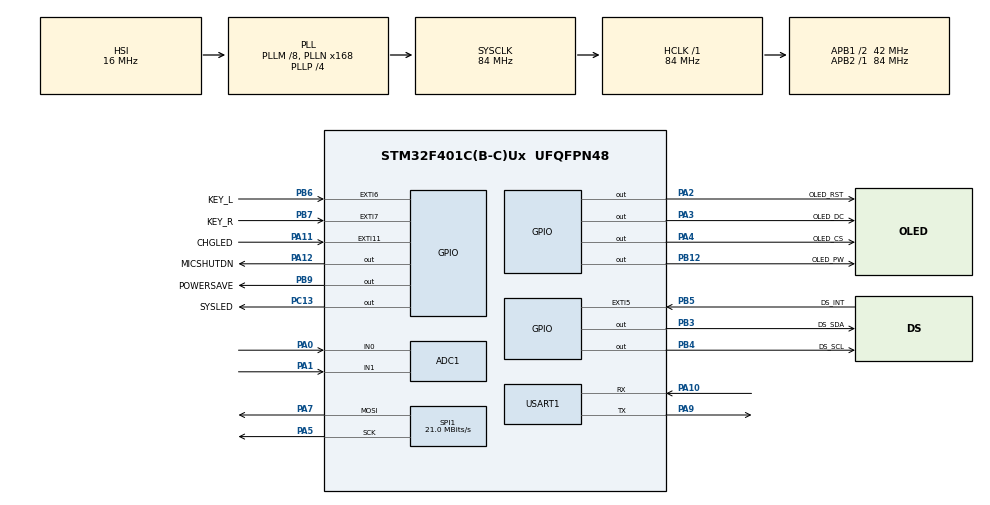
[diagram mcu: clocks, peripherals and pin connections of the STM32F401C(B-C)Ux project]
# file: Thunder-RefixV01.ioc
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ADC1.Channel-0\#ChannelRegularConversion=ADC_CHANNEL_0
ADC1.ExternalTrigConv=ADC_EXTERNALTRIGCONV_T3_TRGO
ADC1.NbrOfConversionFlag=1
ADC1.Rank-0\#ChannelRegularConversion=1
ADC1.SamplingTime-0\#ChannelRegularConversion=ADC_SAMPLETIME_3CYCLES
ADC1.master=1
Dma.ADC1.1.Direction=DMA_PERIPH_TO_MEMORY
Dma.ADC1.1.FIFOMode=DMA_FIFOMODE_DISABLE
Dma.ADC1.1.Instance=DMA2_Stream0
Dma.ADC1.1.MemDataAlignment=DMA_MDATAALIGN_WORD
Dma.ADC1.1.MemInc=DMA_MINC_ENABLE
Dma.ADC1.1.Mode=DMA_CIRCULAR
Dma.ADC1.1.PeriphDataAlignment=DMA_PDATAALIGN_WORD
Dma.ADC1.1.PeriphInc=DMA_PINC_DISABLE
Dma.ADC1.1.Priority=DMA_PRIORITY_LOW
Dma.Request0=SPI1_TX
Dma.Request1=ADC1
Dma.Request2=USART1_RX
Dma.Request3=USART1_TX
Dma.SPI1_TX.0.Direction=DMA_MEMORY_TO_PERIPH
Dma.SPI1_TX.0.FIFOMode=DMA_FIFOMODE_DISABLE
Dma.SPI1_TX.0.Instance=DMA2_Stream3
Dma.SPI1_TX.0.MemDataAlignment=DMA_MDATAALIGN_BYTE
Dma.SPI1_TX.0.MemInc=DMA_MINC_ENABLE
Dma.SPI1_TX.0.Mode=DMA_NORMAL
Dma.SPI1_TX.0.PeriphDataAlignment=DMA_PDATAALIGN_BYTE
Dma.SPI1_TX.0.PeriphInc=DMA_PINC_DISABLE
Dma.SPI1_TX.0.Priority=DMA_PRIORITY_LOW
Dma.USART1_RX.2.Direction=DMA_PERIPH_TO_MEMORY
Dma.USART1_RX.2.FIFOMode=DMA_FIFOMODE_DISABLE
Dma.USART1_RX.2.Instance=DMA2_Stream5
Dma.USART1_RX.2.MemDataAlignment=DMA_MDATAALIGN_BYTE
Dma.USART1_RX.2.MemInc=DMA_MINC_ENABLE
Dma.USART1_RX.2.Mode=DMA_NORMAL
Dma.USART1_RX.2.PeriphDataAlignment=DMA_PDATAALIGN_BYTE
Dma.USART1_RX.2.PeriphInc=DMA_PINC_DISABLE
Dma.USART1_RX.2.Priority=DMA_PRIORITY_HIGH
Dma.USART1_TX.3.Direction=DMA_MEMORY_TO_PERIPH
Dma.USART1_TX.3.FIFOMode=DMA_FIFOMODE_DISABLE
Dma.USART1_TX.3.Instance=DMA2_Stream7
Dma.USART1_TX.3.MemDataAlignment=DMA_MDATAALIGN_BYTE
Dma.USART1_TX.3.MemInc=DMA_MINC_ENABLE
Dma.USART1_TX.3.Mode=DMA_NORMAL
Dma.USART1_TX.3.PeriphDataAlignment=DMA_PDATAALIGN_BYTE
Dma.USART1_TX.3.PeriphInc=DMA_PINC_DISABLE
Dma.USART1_TX.3.Priority=DMA_PRIORITY_MEDIUM
Mcu.Family=STM32F4
Mcu.Name=STM32F401C(B-C)Ux
Mcu.Package=UFQFPN48
NVIC.DMA2_Stream0_IRQn=true\:0\:0\:false\:false\:true\:false\:true
NVIC.DMA2_Stream3_IRQn=true\:0\:0\:false\:false\:true\:false\:true
NVIC.DMA2_Stream5_IRQn=true\:0\:0\:false\:false\:true\:false\:true
NVIC.DMA2_Stream7_IRQn=true\:0\:0\:false\:false\:true\:false\:true
NVIC.EXTI15_10_IRQn=true\:0\:0\:false\:false\:true\:true\:true
NVIC.EXTI9_5_IRQn=true\:0\:0\:false\:false\:true\:true\:true
NVIC.FPU_IRQn=true\:0\:0\:false\:false\:true\:true\:false
NVIC.PriorityGroup=NVIC_PRIORITYGROUP_4
NVIC.TIM1_BRK_TIM9_IRQn=true\:0\:0\:false\:false\:true\:true\:true
NVIC.TIM4_IRQn=true\:0\:0\:false\:false\:true\:true\:true
NVIC.TIM5_IRQn=true\:0\:0\:false\:false\:true\:true\:true
NVIC.USART1_IRQn=true\:0\:0\:false\:false\:true\:true\:true
PA0-WKUP.Signal=ADCx_IN0
PA1.Signal=ADCx_IN1
PA10.Mode=Asynchronous
PA10.Signal=USART1_RX
PA11.GPIO_Label=CHGLED
PA11.GPIO_ModeDefaultEXTI=GPIO_MODE_IT_RISING_FALLING
PA11.GPIO_PuPd=GPIO_PULLUP
PA11.Signal=GPXTI11
PA12.GPIO_Label=MICSHUTDN
PA12.GPIO_ModeDefaultOutputPP=GPIO_MODE_OUTPUT_PP
PA12.GPIO_PuPd=GPIO_PULLUP
PA12.GPIO_Speed=GPIO_SPEED_FREQ_LOW
PA12.PinState=GPIO_PIN_SET
PA12.Signal=GPIO_Output
PA13.Mode=Serial_Wire
PA13.Signal=SYS_JTMS-SWDIO
PA14.Mode=Serial_Wire
PA14.Signal=SYS_JTCK-SWCLK
PA2.GPIO_Label=OLED_RST
PA2.GPIO_ModeDefaultOutputPP=GPIO_MODE_OUTPUT_PP
PA2.GPIO_PuPd=GPIO_PULLUP
PA2.GPIO_Speed=GPIO_SPEED_FREQ_VERY_HIGH
PA2.PinState=GPIO_PIN_SET
PA2.Signal=GPIO_Output
PA3.GPIO_Label=OLED_DC
PA3.GPIO_ModeDefaultOutputPP=GPIO_MODE_OUTPUT_PP
PA3.GPIO_PuPd=GPIO_PULLUP
PA3.GPIO_Speed=GPIO_SPEED_FREQ_VERY_HIGH
PA3.PinState=GPIO_PIN_SET
PA3.Signal=GPIO_Output
PA4.GPIO_Label=OLED_CS
PA4.GPIO_ModeDefaultOutputPP=GPIO_MODE_OUTPUT_PP
PA4.GPIO_PuPd=GPIO_PULLUP
PA4.GPIO_Speed=GPIO_SPEED_FREQ_VERY_HIGH
PA4.PinState=GPIO_PIN_SET
PA4.Signal=GPIO_Output
PA5.Mode=TX_Only_Simplex_Unidirect_Master
PA5.Signal=SPI1_SCK
PA7.Mode=TX_Only_Simplex_Unidirect_Master
PA7.Signal=SPI1_MOSI
PA9.Mode=Asynchronous
PA9.Signal=USART1_TX
PB12.GPIO_Label=OLED_PW
PB12.GPIO_ModeDefaultOutputPP=GPIO_MODE_OUTPUT_PP
PB12.GPIO_PuPd=GPIO_PULLUP
PB12.GPIO_Speed=GPIO_SPEED_FREQ_LOW
PB12.PinState=GPIO_PIN_SET
PB12.Signal=GPIO_Output
PB3.GPIO_Label=DS_SDA
PB3.GPIO_ModeDefaultOutputPP=GPIO_MODE_OUTPUT_PP
PB3.GPIO_PuPd=GPIO_NOPULL
PB3.GPIO_Speed=GPIO_SPEED_FREQ_HIGH
PB3.PinState=GPIO_PIN_SET
PB3.Signal=GPIO_Output
PB4.GPIO_Label=DS_SCL
PB4.GPIO_ModeDefaultOutputPP=GPIO_MODE_OUTPUT_PP
PB4.GPIO_PuPd=GPIO_PULLUP
PB4.GPIO_Speed=GPIO_SPEED_FREQ_HIGH
PB4.PinState=GPIO_PIN_SET
PB4.Signal=GPIO_Output
PB5.GPIO_Label=DS_INT
PB5.GPIO_ModeDefaultEXTI=GPIO_MODE_IT_FALLING
PB5.GPIO_PuPd=GPIO_PULLUP
PB5.Signal=GPXTI5
PB6.GPIO_Label=KEY_L
PB6.GPIO_ModeDefaultEXTI=GPIO_MODE_IT_RISING
PB6.GPIO_PuPd=GPIO_PULLDOWN
PB6.Signal=GPXTI6
PB7.GPIO_Label=KEY_R
PB7.GPIO_ModeDefaultEXTI=GPIO_MODE_IT_RISING
PB7.GPIO_PuPd=GPIO_PULLDOWN
PB7.Signal=GPXTI7
PB9.GPIO_Label=POWERSAVE
PB9.GPIO_ModeDefaultOutputPP=GPIO_MODE_OUTPUT_PP
PB9.GPIO_PuPd=GPIO_PULLUP
PB9.GPIO_Speed=GPIO_SPEED_FREQ_LOW
PB9.PinState=GPIO_PIN_SET
PB9.Signal=GPIO_Output
PC13-ANTI_TAMP.GPIO_Label=SYSLED
PC13-ANTI_TAMP.GPIO_ModeDefaultOutputPP=GPIO_MODE_OUTPUT_PP
PC13-ANTI_TAMP.GPIO_PuPd=GPIO_PULLUP
PC13-ANTI_TAMP.GPIO_Speed=GPIO_SPEED_FREQ_LOW
PC13-ANTI_TAMP.PinState=GPIO_PIN_SET
PC13-ANTI_TAMP.Signal=GPIO_Output
PH0\ -\ OSC_IN.Mode=HSE-External-Oscillator
PH0\ -\ OSC_IN.Signal=RCC_OSC_IN
PH1\ -\ OSC_OUT.Mode=HSE-External-Oscillator
PH1\ -\ OSC_OUT.Signal=RCC_OSC_OUT
ProjectManager.HeapSize=0x200
ProjectManager.StackSize=0x400
ProjectManager.TargetToolchain=MDK-ARM V5.27
RCC.48MHZClocksFreq_Value=84000000
RCC.AHBFreq_Value=84000000
RCC.APB1CLKDivider=RCC_HCLK_DIV2
RCC.APB1Freq_Value=42000000
RCC.APB1TimFreq_Value=84000000
RCC.APB2Freq_Value=84000000
RCC.APB2TimFreq_Value=84000000
RCC.CortexFreq_Value=84000000
RCC.HCLKFreq_Value=84000000
RCC.HSE_VALUE=8000000
RCC.HSI_VALUE=16000000
RCC.LSE_VALUE=32768
RCC.PLLM=8
RCC.PLLN=168
RCC.PLLP=RCC_PLLP_DIV4
RCC.RCC_RTC_Clock_Source=RCC_RTCCLKSOURCE_LSE
RCC.RCC_RTC_Clock_SourceVirtual=RCC_RTCCLKSOURCE_LSE
RCC.SYSCLKFreq_VALUE=84000000
RCC.SYSCLKSource=RCC_SYSCLKSOURCE_PLLCLK
RCC.VCOOutputFreq_Value=336000000
SH.ADCx_IN0.0=ADC1_IN0,IN0
SH.ADCx_IN1.0=ADC1_IN1,IN1
SPI1.BaudRatePrescaler=SPI_BAUDRATEPRESCALER_4
SPI1.CalculateBaudRate=21.0 MBits/s
SPI1.Direction=SPI_DIRECTION_2LINES
SPI1.Mode=SPI_MODE_MASTER
SPI1.VirtualType=VM_MASTER
TIM3.Period=99
TIM3.Prescaler=83
TIM3.TIM_MasterOutputTrigger=TIM_TRGO_UPDATE
TIM4.AutoReloadPreload=TIM_AUTORELOAD_PRELOAD_ENABLE
TIM4.Period=99
TIM4.Prescaler=8399
TIM5.Period=199
TIM5.Prescaler=8399
TIM9.AutoReloadPreload=TIM_AUTORELOAD_PRELOAD_ENABLE
TIM9.Period=9999
TIM9.Prescaler=8399
USART1.VirtualMode=VM_ASYNC
VP_TIM3_VS_ClockSourceINT.Mode=Internal
VP_TIM4_VS_ClockSourceINT.Mode=Internal
VP_TIM5_VS_ClockSourceINT.Mode=Internal
VP_TIM9_VS_ClockSourceINT.Mode=Internal
board=custom

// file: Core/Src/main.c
/* USER CODE BEGIN Header */
/**
  ******************************************************************************
  * @file           : main.c
  * @brief          : Main program body
  ******************************************************************************
  * @attention
  *
  * <h2><center>&copy; Copyright (c) 2020 STMicroelectronics.
  * All rights reserved.</center></h2>
  *
  * This software component is licensed by ST under BSD 3-Clause license,
  * the "License"; You may not use this file except in compliance with the
  * License. You may obtain a copy of the License at:
  *                        opensource.org/licenses/BSD-3-Clause
  *
  ******************************************************************************
  */
/* USER CODE END Header */
#include "main.h"
#include "adc.h"
#include "dma.h"
#include "spi.h"
#include "tim.h"
#include "usart.h"
#include "gpio.h"

/* USER CODE BEGIN Includes */
#include "OLED_Animation.h"
#include "OLED_Driver.h"
#include "OLED_GFX.h"
#include "OLED_FFT.h"
#include "OLED_UI.h"
#include "ds3231.h"
#include "string.h"
#include "math.h"
#include "stdio.h"
#include "stm32_dsp.h"
#include "stmflash.h"
#include "table_fft.h"
#include "mpu6050.h"
#include "inv_mpu.h"
#include "inv_mpu_dmp_motion_driver.h"
#include "NIX_Anim.h"
/* USER CODE END Includes */

/* USER CODE BEGIN PTD */

#define FLASH_SAVE_ADDR  0x0803D000 	//设置FLASH 保存地址(必须为4的倍数，且所在扇区,要大于本代码所占用到的扇区.

/* USER CODE END PTD */

/* USER CODE BEGIN PM */
uint8_t Flag_Refrash = False;
uint8_t Flag_BATRefrash = False;
uint8_t Flag_Blink = False;
uint8_t Flag_Sleep = False;
uint8_t Flag_Continue = False;
uint8_t Flag_Reception = True;
uint8_t OfflineCount = 6;
uint8_t SystemActive = False;
u8 adcintrun = False;
u8 datatemp[256] = {};
u16 RandomX=30,RandomY=30;
int battype;
u16 Display_Mode = MODE_CHROME;
u16 Current_Mode = MODE_OFFLINE;
NixAnim nm;
OLED_GFX oled = OLED_GFX();
OLED_FFT fft = OLED_FFT();
OLED_Animation motion = OLED_Animation();
OLED_UI ui = OLED_UI();
SAVE save={1,1};
char tip[100]="TIPS";
char battery[100]="BAT --";
u16 ColorPointer[3];

uint32_t adc_buf[NPT]={0};			//用于存储ADC转换结果的数组
uint32_t vol_buf[NPT]={0};			//用于存储ADC转换结果的数组

static long lBufInArray[NPT];					//传入给FFT的数组
static long lBufOutArray[NPT];				//FFT输出
long lBufMagArray[NPT];				//每个频率对用的幅值

uint8_t prt = 2;
STA systemstatus = offline;
u16 offlinecount = 0;
u16 sleepcount = 0;

void FFT_Start(void)
{
	MX_ADC1_GETSound();
	/*启动ADC的DMA传输，配合定时器触发ADC转换*/
	HAL_ADC_Start_DMA(&hadc1, adc_buf, NPT);
	/*开启定时器，用溢出时间来触发ADC*/
	HAL_TIM_Base_Start(&htim3);
}

void FFT_Stop(void)
{
//	/*停止ADC的DMA传输*/
	HAL_ADC_Stop_DMA(&hadc1);
	/*停止定时器*/
	HAL_TIM_Base_Stop(&htim3);
}

void GETVOL_Start(void)
{
	MX_ADC1_GETVOL();
	/*启动ADC的DMA传输，配合定时器触发ADC转换*/
	HAL_ADC_Start_DMA(&hadc1, vol_buf, NPT);
	/*开启定时器，用溢出时间来触发ADC*/
	HAL_TIM_Base_Start(&htim3);
}

void GetPowerMag(void)
{
    signed short lX,lY;
    float X,Y,Mag;
    unsigned short i;

    for(i=0; i<NPT; i++)
    {
        lX  = (lBufOutArray[i] << 16) >> 16;
        lY  = (lBufOutArray[i] >> 16);

				//除以32768再乘65536是为了符合浮点数计算规律
        X = NPT * ((float)lX) / 32768;
        Y = NPT * ((float)lY) / 32768;
        Mag = sqrt(X * X + Y * Y)*1.0f/ NPT;
        if(i == 0)
            lBufMagArray[i] = (unsigned long)(Mag * 32768);
        else
            lBufMagArray[i] = (unsigned long)(Mag * 65536);
    }
}

/* 函数名称：void FFT_Pro(void)
 * 功能描述：FFT处理函数
 * 参数：无
 * 返回值：无
 */
void FFT_Pro(void)
{
	uint16_t i = 0;
	//填充数组
	for(i=0;i<NPT;i++)
	{
		//这里因为单片机的ADC只能测正的电压 所以需要前级加直流偏执
		//加入直流偏执后 1.25V 对应AD值为3103
		lBufInArray[i] = ((signed short)(adc_buf[i])-1551) << 18;
	}
	//256点FFT变换
	cr4_fft_256_stm32(lBufOutArray, lBufInArray, NPT);
	//计算出对应频率的模 即每个频率对应的幅值
	GetPowerMag();
}

static u8 TimeTHEME = 0;

void MainSysRun()
{
	static int runcount=0;

	if(Display_Mode==Current_Mode&&TimeTHEME==Device_Cmd.commandtimetheme)
	{
		switch(Current_Mode)
		{
			case MODE_GAME:ui.SUIDataPrss();break;
			case MODE_NORMAL:ui.NUIDataPrss();break;
			case MODE_MUSIC:ui.MUIDataPrss();break;
			case MODE_DATE:switch(TimeTHEME)
			{
				case 0:ui.TUIDataPrss();break;
				case 1:ui.T1UIDataPrss();break;
				case 2:ui.T2UIDataPrss();break;
				default:Device_Cmd.commandtimetheme=0;break;
			}break;
			case MODE_SHOW:ui.HUIDataPrss();break;
			case MODE_CHROME:ui.GAMEUIDataPrss();break;
			case MODE_OFFLINE:break;
//			default:ui.SUIDataPrss();break;
		}

		return;
	}
	else
	{
		runcount++;
		if(runcount==1)
		{
			switch(Current_Mode)
			{
				case MODE_GAME:ui.SUI_Out();;break;
				case MODE_NORMAL:ui.NUI_Out();break;
				case MODE_MUSIC:FFT_Stop();ui.MUI_Out();HAL_GPIO_WritePin(MICSHUTDN_GPIO_Port, MICSHUTDN_Pin, GPIO_PIN_RESET);break;
				case MODE_DATE:switch(TimeTHEME)
				{
					case 0:ui.TUI_Out();break;
					case 1:ui.T1UI_Out();break;
					case 2:ui.T2UI_Out();break;
					default:Device_Cmd.commandtimetheme=0;break;
				}break;
				case MODE_SHOW:ui.HUI_Out();break;
				case MODE_CHROME:ui.GAMEUI_Out();break;
				case MODE_OFFLINE:break;
//				default:ui.SUI_Out();break;
			}
		}
		else if(runcount>60)
		{
			runcount=0;
			Current_Mode=Display_Mode;
			TimeTHEME=Device_Cmd.commandtimetheme;
			switch(Current_Mode)
			{
				case MODE_GAME:ui.SUI_In();;break;
				case MODE_NORMAL:ui.NUI_In();break;
				case MODE_MUSIC:MX_ADC1_Init();FFT_Start();HAL_GPIO_WritePin(MICSHUTDN_GPIO_Port, MICSHUTDN_Pin, GPIO_PIN_SET);//关闭MICui.MUI_In();break;
				case MODE_DATE:switch(TimeTHEME)
				{
					case 0:ui.TUI_In();break;
					case 1:ui.T1UI_In();break;
					case 2:ui.T2UI_In();break;
					default:Device_Cmd.commandtimetheme=0;break;
				}break;
				case MODE_SHOW:ui.HUI_In();break;
				case MODE_CHROME:ui.GAMEUI_In();break;
				case MODE_OFFLINE:break;
//				default:ui.SUI_In();break;
			}
		}
	}
}

int motiontye = 0;
int fonttye = 4;
/* USER CODE END PM */

/* USER CODE BEGIN PV */
int Count=0;

u8 Dataleng;
char DataDis[20];
char DataDisf[3];

u8 showfpsflag = 0;
//void CopyString(char *ch1,char *ch2)
//{
//	int i;
//	for(i=0;i<cont_str(ch2);i++)
//		ch1[i]=ch2[i];
//}
/* USER CODE END PV */

void SystemClock_Config(void);

/* USER CODE BEGIN 0 */

//u8 sleepflag=0;
void module_pwr_enter_sleep_mode(void)
{
//	sleepflag=1;
	printf("I'm sleep!\r\n");
  oled.SCR_reg(0x06, 0x00);//shutdown screen
  GPIO_InitTypeDef GPIO_InitStruct = {0};

  GPIO_InitStruct.Pin = SYSLED_Pin;
  HAL_GPIO_Init(SYSLED_GPIO_Port, &GPIO_InitStruct);

  GPIO_InitStruct.Pin = OLED_RST_Pin|OLED_DC_Pin|OLED_CS_Pin|GPIO_PIN_5|GPIO_PIN_7;
  HAL_GPIO_Init(GPIOA, &GPIO_InitStruct);

  GPIO_InitStruct.Pin = DS_SDA_Pin|DS_SCL_Pin;
  HAL_GPIO_Init(GPIOB, &GPIO_InitStruct);

  HAL_GPIO_WritePin(GPIOB, OLED_PW_Pin, GPIO_PIN_RESET);//关闭升压
  HAL_GPIO_WritePin(GPIOA, OLED_RST_Pin|OLED_DC_Pin|OLED_CS_Pin|GPIO_PIN_5|GPIO_PIN_7, GPIO_PIN_RESET);//关闭

  HAL_GPIO_WritePin(MICSHUTDN_GPIO_Port, MICSHUTDN_Pin, GPIO_PIN_RESET);//关闭MIC
	HAL_TIM_Base_Stop_IT(&htim3);
	HAL_TIM_Base_Stop_IT(&htim4);
	HAL_TIM_Base_Stop_IT(&htim5);
	HAL_TIM_Base_Stop_IT(&htim9);
	HAL_ADC_Stop(&hadc1);
	HAL_SPI_DMAStop(&hspi1);
	Tranfcmd();
	HAL_Delay(500);

  GPIO_InitStruct.Pin = POWERSAVE_Pin;
  GPIO_InitStruct.Mode = GPIO_MODE_INPUT;
  GPIO_InitStruct.Pull = GPIO_PULLDOWN;
  HAL_GPIO_Init(POWERSAVE_GPIO_Port, &GPIO_InitStruct);

  HAL_GPIO_WritePin(POWERSAVE_GPIO_Port, POWERSAVE_Pin, GPIO_PIN_RESET);//开启Powersave
    /*进STOP模式*/
  __HAL_RCC_PWR_CLK_DISABLE();
	HAL_PWR_EnterSTOPMode(PWR_LOWPOWERREGULATOR_ON, PWR_STOPENTRY_WFI);
	while(1);
}

//void module_pwr_exit_sleep_mode(void)
//{
//	sleepflag=0;
////  NVIC_SystemReset();           //软件重启
//}

u8 key1UpFlag = False;
u8 key1_fall_flag = False;
u8 short_key1_flag = False;
u8 key1_long_down = False;
u8 long_key1_flag = False;
int key1_holdon_ms = 0;
int key1upCnt = 0;

u8 key2UpFlag = False;
u8 key2_fall_flag = False;
u8 short_key2_flag = False;
u8 key2_long_down = False;
u8 long_key2_flag = False;
int key2_holdon_ms = 0;
int key2upCnt = 0;

void KeyProcess(void)
{
//	return;
	if(short_key1_flag)
	{
		if(Current_Mode==MODE_CHROME) return;
		short_key1_flag=0;
		if(!oled.GetTipState())
		{
			fonttye=(fonttye+1)%5;
			oled.TipStart();
			return;
		}
		oled.TipStart();
		if(Display_Mode==MODE_MUSIC)
		{
			Device_Cmd.commandstyle++;
			if(Device_Cmd.commandstyle>6)
				Device_Cmd.commandstyle=1;
			drache_cmd(&huart1,Command_Style,Device_Cmd.commandstyle);
		}
		else
		{
			Device_Cmd.commandtimetheme++;
			if(Device_Cmd.commandtimetheme>2)
				Device_Cmd.commandtimetheme=0;
		}
	}
	else if(key1_long_down)
	{
		if(Display_Mode==MODE_MUSIC)
		{
			Display_Mode=MODE_CHROME;
		}
		else if(Display_Mode==MODE_DATE)
		{
			Display_Mode=MODE_MUSIC;
			drache_cmd(&huart1,Command_Mode,3);
		}
		else
		{
			Display_Mode=MODE_DATE;
			drache_cmd(&huart1,Command_Mode,2);
		}
		key1_long_down=0;
	}
	if(short_key2_flag)
	{
		if(Current_Mode==MODE_CHROME) return;
		short_key2_flag=0;
		if(!oled.GetTipState())
		{
			motiontye=(motiontye+1)%10;
			oled.TipStart();
			return;
		}
		oled.TipStart();
		if(Device_Cmd.commandmotion==0xf)
			Device_Cmd.commandmotion=0;
		else
		{
			Device_Cmd.commandmotion++;
			if(Device_Cmd.commandmotion>5)
				Device_Cmd.commandmotion=0xf;
		}

		if(Device_Cmd.commandmotion == 0)
			drache_cmd(&huart1,Command_Motion,0x8);
		else if(Device_Cmd.commandmotion == 1)
			drache_cmd(&huart1,Command_Motion,0x4);
		else if(Device_Cmd.commandmotion == 2)
			drache_cmd(&huart1,Command_Motion,0x2);
		else if(Device_Cmd.commandmotion == 3)
			drache_cmd(&huart1,Command_Motion,0x1);
		else if(Device_Cmd.commandmotion == 4)
			drache_cmd(&huart1,Command_Motion,0x20);
		else if(Device_Cmd.commandmotion == 5)
			drache_cmd(&huart1,Command_Motion,0x10);
		else if(Device_Cmd.commandmotion == 6)
			drache_cmd(&huart1,Command_Motion,0x1);
		else
			drache_cmd(&huart1,Command_Motion,0);
	}
	else if(key2_long_down)
	{
		module_pwr_enter_sleep_mode();
		key2_long_down=0;
	}
}
u16 fps = 0;
char fpschar[20];

float getpresent(float voltage)
{
	return voltage>2.8f?1000.0f/14.0f*voltage-200.0f:0.0f;
}

float battVoltage;
int symIndex;
extern const unsigned char icon_battery[][13];
int watchdog=0;
/* USER CODE END 0 */

int main(void)
{

  /* MCU Configuration--------------------------------------------------------*/

  /* Reset of all peripherals, Initializes the Flash interface and the Systick. */
  HAL_Init();

  /* Configure the system clock */
  SystemClock_Config();

  /* Initialize all configured peripherals */
  MX_GPIO_Init();
  MX_DMA_Init();
  MX_SPI1_Init();
  MX_USART1_UART_Init();
  MX_ADC1_Init();
  MX_TIM3_Init();
  MX_TIM4_Init();
  MX_TIM5_Init();
  MX_TIM9_Init();
  /* USER CODE BEGIN 2 */
	__HAL_UART_ENABLE_IT(&huart1, UART_IT_IDLE);
  HAL_UART_Receive_DMA(&huart1,Uart_Recv1_Buf,Uart_Max_Length);
	HAL_TIM_Base_Start_IT(&htim4);
	HAL_TIM_Base_Start_IT(&htim5);
	HAL_TIM_Base_Start_IT(&htim9);
	printf("Sys OK!\r\n");
  oled.Device_Init();
	Recvcmd();
	motion.OLED_AllMotion_Init();
	GETVOL_Start();
	drache_cmd(&huart1,0xA002,3);
	InitData();
  /* USER CODE END 2 */

  /* Infinite loop */
  while (1)
  {

    /* USER CODE BEGIN 3 */
//    battVoltage = (float)Get_Adc(ADC_CHANNEL_1) / 4095.0f * 3.3f * 2;
//		printf("battVoltage:%0.1f\r\n",battVoltage);
		{
			Flag_Refrash=False;
			oled.Clear_Screen();
			if(Current_Mode!=MODE_SHOW)
				motion.OLED_CustormMotion(Device_Cmd.commandmotion);
			KeyProcess();
			fps++;
			if(showfpsflag)
				oled.OLED_SHFAny(0,0,fpschar,19,0xffff);
			switch(Current_Mode)
			{
				case MODE_GAME:ui.SUIMainShow();break;
				case MODE_NORMAL:ui.NUIMainShow();break;
				case MODE_MUSIC:ui.MUIMainShow();break;
				case MODE_DATE:switch(TimeTHEME)
				{
					case 0:ui.TUIMainShow();break;
					case 1:ui.T1UIMainShow();break;
					case 2:ui.T2UIMainShow();break;
					default:Device_Cmd.commandtimetheme=0;break;
				}
				break;
				case MODE_SHOW:ui.HUIMainShow();break;
				case MODE_CHROME:ui.GAMEUIMainShow();break;
				case MODE_OFFLINE:break;
	//			default:ui.SUIMainShow();break;
			}
//			oled.OLED_SBFAny(10,10,tip,9,0xffff);
//			oled.OLED_SBFAny(10,25,battery,9,0xffff);
			oled.Display_bbmp(160-13-2,-8,13,8,icon_battery[battype]);
			nm.animotion(ds3231.Time, motiontye, fonttye, 0);
			nm.gram2one();
			oled.Display_bbmp(160-13-2-48-2,-8,48,8,onegram);
			oled.Refrash_Screen();
		}
		if(Flag_BATRefrash)
		{
			Flag_BATRefrash = False;
			while(adcintrun)
				HAL_Delay(1);
			FFT_Stop();
			HAL_Delay(5);
			GETVOL_Start();
		}
		if(sleepcount>120)
		{
			module_pwr_enter_sleep_mode();
		}
		HAL_Delay(5);
		watchdog=0;
  }
  /* USER CODE END 3 */
}

void SystemClock_Config(void)
{
  RCC_OscInitTypeDef RCC_OscInitStruct = {0};
  RCC_ClkInitTypeDef RCC_ClkInitStruct = {0};

  /** Configure the main internal regulator output voltage
  */
  __HAL_RCC_PWR_CLK_ENABLE();
  __HAL_PWR_VOLTAGESCALING_CONFIG(PWR_REGULATOR_VOLTAGE_SCALE2);
  /** Initializes the RCC Oscillators according to the specified parameters
  * in the RCC_OscInitTypeDef structure.
  */
  RCC_OscInitStruct.OscillatorType = RCC_OSCILLATORTYPE_HSI;
  RCC_OscInitStruct.HSIState = RCC_HSI_ON;
  RCC_OscInitStruct.HSICalibrationValue = RCC_HSICALIBRATION_DEFAULT;
  RCC_OscInitStruct.PLL.PLLState = RCC_PLL_ON;
  RCC_OscInitStruct.PLL.PLLSource = RCC_PLLSOURCE_HSI;
  RCC_OscInitStruct.PLL.PLLM = 8;
  RCC_OscInitStruct.PLL.PLLN = 168;
  RCC_OscInitStruct.PLL.PLLP = RCC_PLLP_DIV4;
  RCC_OscInitStruct.PLL.PLLQ = 4;
  if (HAL_RCC_OscConfig(&RCC_OscInitStruct) != HAL_OK)
  {
    Error_Handler();
  }
  /** Initializes the CPU, AHB and APB buses clocks
  */
  RCC_ClkInitStruct.ClockType = RCC_CLOCKTYPE_HCLK|RCC_CLOCKTYPE_SYSCLK
                              |RCC_CLOCKTYPE_PCLK1|RCC_CLOCKTYPE_PCLK2;
  RCC_ClkInitStruct.SYSCLKSource = RCC_SYSCLKSOURCE_PLLCLK;
  RCC_ClkInitStruct.AHBCLKDivider = RCC_SYSCLK_DIV1;
  RCC_ClkInitStruct.APB1CLKDivider = RCC_HCLK_DIV2;
  RCC_ClkInitStruct.APB2CLKDivider = RCC_HCLK_DIV1;

  if (HAL_RCC_ClockConfig(&RCC_ClkInitStruct, FLASH_LATENCY_2) != HAL_OK)
  {
    Error_Handler();
  }
}

/* USER CODE BEGIN 4 */

void HAL_TIM_PeriodElapsedCallback(TIM_HandleTypeDef *htim)
{
	static u16 TimeRun = 0;
	if (htim->Instance == htim4.Instance)
	{
		if(key1_fall_flag==1)//发生按键按下事件
		{
			if(HAL_GPIO_ReadPin(KEY_L_GPIO_Port,KEY_L_Pin))//按键持续按下
			{
				if(key1_holdon_ms <= 200)
				{
					key1_holdon_ms++;
				}
				else //按键按下到2000ms就判断长按时间成立，生成长按标志
				{
					key1_holdon_ms = 0;
					short_key1_flag = 0;//清短按键标志
					key1_long_down = 1;//长按键标志置位
					key1_fall_flag = 0;//清按键按下标志
				}
			}
			else //按键抬起
			{
				if(key1_holdon_ms>5)//按下时间大于50ms，生成单击标志
				{
					key1_holdon_ms=0;
					short_key1_flag=1;
					key1_long_down =0;
					key1_fall_flag=0;

					//距离上次单击时间在100~500ms之间，则认为发生连击事件
//					if(key1upCnt>100 && key1upCnt<500)
//					{
//						doubleClick = True;
//						short_key1_flag=0;
//					}
					key1UpFlag = True;//单击抬起按键后，生成按键抬起标志
				}
				else  //按键持续时间小于50ms，忽略
				{
					key1_holdon_ms=0;
					short_key1_flag=0;
					long_key1_flag=0;
					key1_fall_flag=0;
				}
			}
		}

		if(key1UpFlag)//单击抬起后，启动计数，计数到500ms
			key1upCnt++;
		if(key1upCnt>50)
		{
			key1upCnt = 0;
			key1UpFlag = False;
		}

		if(key2_fall_flag==1)//发生按键按下事件
		{
			if(HAL_GPIO_ReadPin(KEY_R_GPIO_Port,KEY_R_Pin))//按键持续按下
			{
				if(key2_holdon_ms <= 200)
				{
					key2_holdon_ms++;
				}
				else //按键按下到2000ms就判断长按时间成立，生成长按标志
				{
					key2_holdon_ms = 0;
					short_key2_flag=0;//清短按键标志
					key2_long_down = 1;//长按键标志置位
					key2_fall_flag = 0;//清按键按下标志
				}
			}
			else //按键抬起
			{
				if(key2_holdon_ms>5)//按下时间大于50ms，生成单击标志
				{
					key2_holdon_ms=0;
					short_key2_flag=1;
					key2_long_down =0;
					key2_fall_flag=0;

					//距离上次单击时间在100~500ms之间，则认为发生连击事件
//					if(key2upCnt>100 && key2upCnt<500)
//					{
//						doubleClick = True;
//						short_key2_flag=0;
//					}
					key2UpFlag = True;//单击抬起按键后，生成按键抬起标志
				}
				else  //按键持续时间小于50ms，忽略
				{
					key2_holdon_ms=0;
					short_key2_flag=0;
					long_key2_flag=0;
					key2_fall_flag=0;
				}
			}
		}

		if(key2UpFlag)//单击抬起后，启动计数，计数到500ms
			key2upCnt++;
		if(key2upCnt>50)
		{
			key2upCnt = 0;
			key2UpFlag = False;
		}
			DampAutoPos(0);
			MainSysRun();
	}
	if (htim->Instance == htim5.Instance)
	{
		oled.Calc_Color();
		HAL_GPIO_TogglePin(SYSLED_GPIO_Port, SYSLED_Pin);
		Flag_Refrash = True;
	}
	if (htim->Instance == htim9.Instance)
	{
		if(watchdog++>10)
			NVIC_SystemReset();
		switch(Device_Cmd.commandrgbmode)
		{
			case 1:oled.Set_Wheelf(TimeRun++%96);break;
			case 2:oled.Set_Wheel(TimeRun++%96);break;
			case 3:oled.Set_Wheelf(Device_Cmd.commandrgbcolor*96/256);break;
			default:oled.Set_Wheelf(Device_Cmd.commandrgbcolor*96/256);break;
		}
		if(offlinecount<3)
			offlinecount++;
		else if(systemstatus==online)
		{
			systemstatus=offline;
			if(Display_Mode!=MODE_DATE&&Display_Mode!=MODE_MUSIC)
				Display_Mode=MODE_DATE;
		}
		else if(Device_Msg.fft[5]<50)
		{
			sleepcount++;
		}
		else
		{
			sleepcount=0;
		}
		Time_Handle();
		sprintf(fpschar,"%d",fps);
		fps = 0;
		Flag_BATRefrash = True;

//		HAL_RTC_GetTime(&hrtc,&timenow,RTC_FORMAT_BIN);
//		printf("Time:%02d:%02d:%02d\r\n",timenow.Hours,timenow.Minutes,timenow.Seconds);
//		HAL_RTC_GetDate(&hrtc,&datenow,RTC_FORMAT_BIN);
//		printf("Date:20%02d-%02d-%02d\r\n",datenow.Year,datenow.Month,datenow.Date);
//		printf("Week:%d\r\n",datenow.WeekDay);
	}
//	if (htim->Instance == htim6.Instance)
//	{
//		if(ContinueCount++>20)
//		{
//			ContinueCount = 0;
//			HAL_TIM_Base_Stop_IT(&htim6);
//		}
//	}
//	if (htim->Instance == htim7.Instance)
//	{
//		oled.Set_Wheel(TimeRun%96);
////		if(TimeRun++>20)
////		{
////			TimeRun = 0;
////		}
//
//		if(SleepCount++>SLEEPTIME*2)
//		{
//				Flag_Sleep = True;
//				SleepCount = 0;
//		}
//	}
}

void Delayms(u16 ms)
{
  u16 i,j;
  u8 k;
  for(i=0;i<ms;i++)
    for(j=0;j<0x0500;j++) k++;
}

void HAL_GPIO_EXTI_Callback(uint16_t GPIO_Pin)
{
	Delayms(20);
	switch(GPIO_Pin)
	{
		case KEY_L_Pin:
		if(HAL_GPIO_ReadPin(KEY_L_GPIO_Port,KEY_L_Pin)==GPIO_PIN_SET)  //LED1翻转
		{
			sleepcount=0;
//				if(sleepflag)
//					module_pwr_exit_sleep_mode();
//				else
					key1_fall_flag = 1;//开启按键标志
				printf("KeyL Pressed!\r\n");
		}
		break;
		case KEY_R_Pin:
		if(HAL_GPIO_ReadPin(KEY_R_GPIO_Port,KEY_R_Pin)==GPIO_PIN_SET)  //LED1翻转
		{
			sleepcount=0;
//				if(sleepflag)
//					module_pwr_exit_sleep_mode();
//				else
					key2_fall_flag = 1;//开启按键标志
				printf("Key2 Pressed!\r\n");
		}
		break;
		case DS_INT_Pin:
		if(HAL_GPIO_ReadPin(DS_INT_GPIO_Port,DS_INT_Pin)==GPIO_PIN_RESET)  //LED1翻转
		{
//			Time_Handle();
//			printf("Time:%s\r\n",ds3231.Time);
		}
		break;
		case CHGLED_Pin:
		if(HAL_GPIO_ReadPin(CHGLED_GPIO_Port,CHGLED_Pin)==GPIO_PIN_RESET)  //LED1翻转
		{
			battype=4;
			sprintf(tip,"CHARGING");
		}
		else
		{
			sprintf(tip,"DISCHARGE");
		}
		break;
	}
}

void GetVoltage()
{
	int i;
	long volsum=0;
	for(i=0;i<NPT;i++)
		volsum+=vol_buf[i];

	battVoltage=(float)volsum/ NPTF / 4095.0f * 3.57f * 2.0f;
	symIndex = getpresent(battVoltage);

	sprintf(battery,"BAT %d %0.2fV %d",symIndex,battVoltage,vol_buf[50]);
	if(HAL_GPIO_ReadPin(CHGLED_GPIO_Port,CHGLED_Pin)==GPIO_PIN_RESET)
	{
		sleepcount=0;
		battype=4;
	}
	else
	{
		if(symIndex>=80)
			battype=5;
		else if(symIndex>=60)
			battype=3;
		else if(symIndex>=40)
			battype=2;
		else if(symIndex>=20)
			battype=1;
		else if(symIndex>=10)
			battype=0;
		else
			battype=6;
	}
}
extern u8 ADCCH;
void HAL_ADC_ConvCpltCallback(ADC_HandleTypeDef* hadc)
{
	int i;
	adcintrun = True;
	if(ADCCH == 0)
	{
		FFT_Stop();
		FFT_Pro();
		if(systemstatus==offline)
		{
			for(i=0;i<200;i++)
			{
				if(lBufMagArray[i]/prt>10)
					Device_Msg.fft[i] = lBufMagArray[i]/prt;
				else
					Device_Msg.fft[i] = lBufMagArray[i]/prt/2;
			}
			Device_Msg.leftvol=Device_Msg.fft[1];
		}
		FFT_Start();
	}
	else
	{
		FFT_Stop();
		GetVoltage();
		if(Current_Mode==MODE_MUSIC)
			FFT_Start();
	}
	adcintrun = False;
}

/* USER CODE END 4 */

void Error_Handler(void)
{
}

/************************ (C) COPYRIGHT STMicroelectronics *****END OF FILE****/
